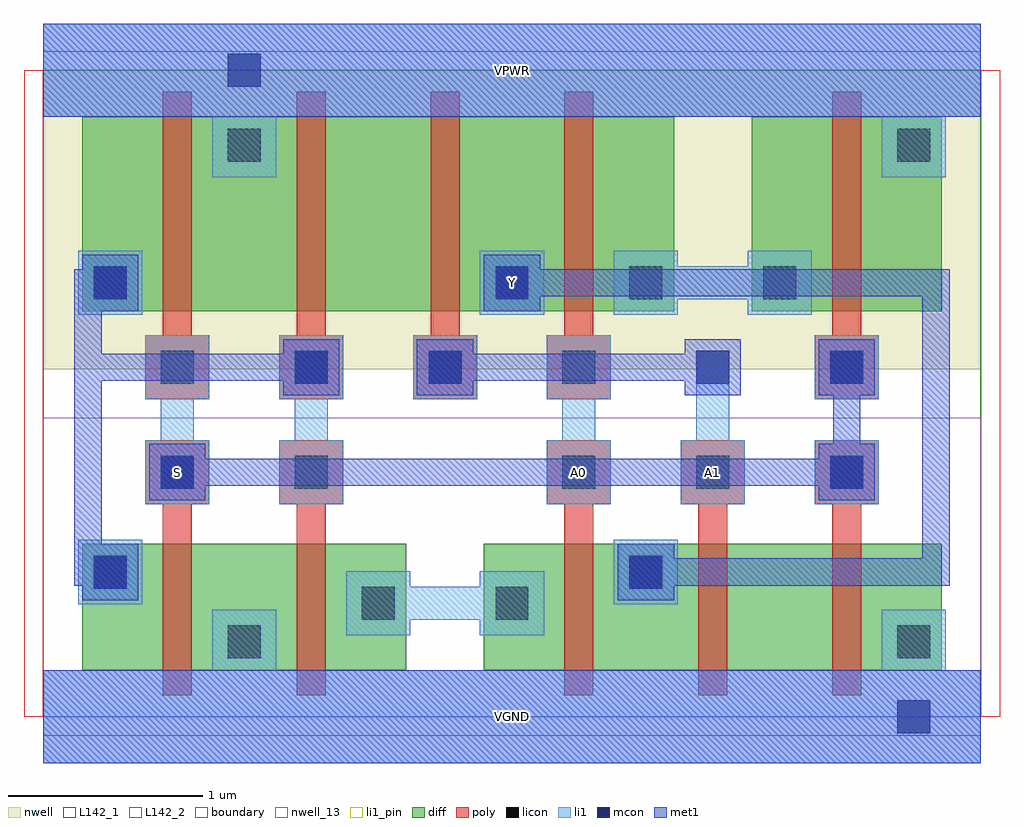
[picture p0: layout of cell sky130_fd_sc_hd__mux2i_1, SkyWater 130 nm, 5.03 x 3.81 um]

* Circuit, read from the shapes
.subckt sky130_fd_sc_hd__mux2i_1 A0 A1 S VGND VPWR Y
XM1 VGND S n1 VSUBS sky130_fd_pr__nfet_01v8 w=0.65 l=0.15
XM2 n2 n1 VGND VSUBS sky130_fd_pr__nfet_01v8 w=0.65 l=0.15
XM3 Y A0 n2 VSUBS sky130_fd_pr__nfet_01v8 w=0.65 l=0.15
XM4 n3 A1 Y VSUBS sky130_fd_pr__nfet_01v8 w=0.65 l=0.15
XM5 VGND S n3 VSUBS sky130_fd_pr__nfet_01v8 w=0.65 l=0.15
XM6 VPWR S n1 n4 sky130_fd_pr__pfet_01v8 w=1 l=0.15
XM7 n5 n1 VPWR n4 sky130_fd_pr__pfet_01v8 w=1 l=0.15
XM8 Y A1 n5 n4 sky130_fd_pr__pfet_01v8 w=1 l=0.15
XM9 n6 A0 Y n4 sky130_fd_pr__pfet_01v8 w=1 l=0.15
XM10 VPWR S n6 n4 sky130_fd_pr__pfet_01v8 w=1 l=0.15
.ends

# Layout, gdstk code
import gdstk
lib = gdstk.Library(unit=1e-6, precision=1e-09)
def R(c, l, rs):  # rectangles x0, y0, x1, y1
    for r in rs: c.add(gdstk.rectangle(r[:2], r[2:], *l))
def A(c, l, x, y, w, h, nx, ny, dx, dy):  # array of equal rectangles
    R(c, l, [(x+i*dx, y+j*dy, x+i*dx+w, y+j*dy+h) for i in range(nx) for j in range(ny)])
def P(c, l, *ps):  # polygons
    for p in ps: c.add(gdstk.Polygon(p, *l))
nwell_13 = (64, 13)
nwell = (64, 20)
diff = (65, 20)
poly = (66, 20)
licon = (66, 44)
li1_pin = (67, 16)
li1 = (67, 20)
mcon = (67, 44)
met1 = (68, 20)
L142_1 = (142, 1)
L142_2 = (142, 2)
boundary = (235, 4)

sky130_fd_sc_hd__mux2i_1 = lib.new_cell('sky130_fd_sc_hd__mux2i_1')
R(sky130_fd_sc_hd__mux2i_1, nwell_13, [(0,0,4.83,1.54)])
R(sky130_fd_sc_hd__mux2i_1, nwell, [(0,1.79,4.83,3.33)])
A(sky130_fd_sc_hd__mux2i_1, diff, 0.615, 2.09, 0.69, 1, 3, 1, 0.69, 0)
R(sky130_fd_sc_hd__mux2i_1, diff, [(0.2,0.24,1.87,0.89), (0.2,0.24,0.615,0.89), (0.615,0.24,1.305,0.89), (1.305,0.24,1.87,0.89), (2.27,0.24,4.63,0.89), (2.27,0.24,2.685,0.89), (2.685,0.24,3.375,0.89), (3.375,0.24,4.065,0.89), (4.065,0.24,4.63,0.89), (0.2,2.09,3.25,3.09), (0.2,2.09,0.615,3.09), (2.685,2.09,3.25,3.09), (3.65,2.09,4.63,3.09), (3.65,2.09,4.065,3.09), (4.065,2.09,4.63,3.09)])
P(sky130_fd_sc_hd__mux2i_1, poly, [(0.615,0.11),(0.615,1.095),(0.525,1.095),(0.525,1.425),(0.855,1.425),(0.855,1.095),(0.765,1.095),(0.765,0.11)],
  [(4.065,0.11),(4.065,1.095),(3.975,1.095),(3.975,1.425),(4.305,1.425),(4.305,1.095),(4.215,1.095),(4.215,0.11)],
  [(0.525,1.635),(0.525,1.965),(0.615,1.965),(0.615,3.22),(0.765,3.22),(0.765,1.965),(0.855,1.965),(0.855,1.635)],
  [(3.975,1.635),(3.975,1.965),(4.065,1.965),(4.065,3.22),(4.215,3.22),(4.215,1.965),(4.305,1.965),(4.305,1.635)],
  [(3.375,0.11),(3.375,1.095),(3.285,1.095),(3.285,1.425),(3.615,1.425),(3.615,1.095),(3.525,1.095),(3.525,0.11)],
  [(1.905,1.635),(1.905,1.965),(1.995,1.965),(1.995,3.22),(2.145,3.22),(2.145,1.965),(2.235,1.965),(2.235,1.635)],
  [(2.685,0.11),(2.685,1.095),(2.595,1.095),(2.595,1.425),(2.925,1.425),(2.925,1.095),(2.835,1.095),(2.835,0.11)],
  [(2.595,1.635),(2.595,1.965),(2.685,1.965),(2.685,3.22),(2.835,3.22),(2.835,1.965),(2.925,1.965),(2.925,1.635)],
  [(1.305,0.11),(1.305,1.095),(1.215,1.095),(1.215,1.425),(1.545,1.425),(1.545,1.095),(1.455,1.095),(1.455,0.11)],
  [(1.215,1.635),(1.215,1.965),(1.305,1.965),(1.305,3.22),(1.455,3.22),(1.455,1.965),(1.545,1.965),(1.545,1.635)])
A(sky130_fd_sc_hd__mux2i_1, licon, 2.675, 1.175, 0.17, 0.17, 3, 1, 0.69, 0)
A(sky130_fd_sc_hd__mux2i_1, licon, 0.605, 1.715, 0.17, 0.17, 4, 1, 0.69, 0)
A(sky130_fd_sc_hd__mux2i_1, licon, 2.33, 2.15, 0.17, 0.17, 3, 1, 0.69, 0)
R(sky130_fd_sc_hd__mux2i_1, licon, [(0.95,0.3,1.12,0.47), (4.4,0.3,4.57,0.47), (1.64,0.5,1.81,0.67), (2.33,0.5,2.5,0.67), (0.26,0.66,0.43,0.83), (3.02,0.66,3.19,0.83), (0.605,1.175,0.775,1.345), (1.295,1.175,1.465,1.345), (4.055,1.715,4.225,1.885), (0.26,2.15,0.43,2.32), (0.95,2.86,1.12,3.03), (4.4,2.86,4.57,3.03)])
R(sky130_fd_sc_hd__mux2i_1, li1_pin, [(0,-0.24,4.83,0.24), (2.25,2.07,2.58,2.4), (0,3.09,4.83,3.57)])
P(sky130_fd_sc_hd__mux2i_1, li1_pin, [(0.525,1.095),(0.525,1.425),(0.605,1.425),(0.605,1.635),(0.525,1.635),(0.525,1.965),(0.855,1.965),(0.855,1.635),(0.775,1.635),(0.775,1.425),(0.855,1.425),(0.855,1.095)],
  [(2.595,1.095),(2.595,1.425),(2.675,1.425),(2.675,1.635),(2.595,1.635),(2.595,1.965),(2.925,1.965),(2.925,1.635),(2.845,1.635),(2.845,1.425),(2.925,1.425),(2.925,1.095)],
  [(3.285,1.095),(3.285,1.425),(3.365,1.425),(3.365,1.885),(3.535,1.885),(3.535,1.425),(3.615,1.425),(3.615,1.095)])
R(sky130_fd_sc_hd__mux2i_1, li1, [(0.18,0.58,0.51,0.91), (2.94,0.58,3.27,0.91), (3.975,1.095,4.305,1.425), (1.905,1.635,2.235,1.965), (3.975,1.635,4.305,1.965), (0.18,2.07,0.51,2.4), (2.25,2.07,2.58,2.4)])
P(sky130_fd_sc_hd__mux2i_1, li1, [(0.525,1.095),(0.525,1.425),(0.605,1.425),(0.605,1.635),(0.525,1.635),(0.525,1.965),(0.855,1.965),(0.855,1.635),(0.775,1.635),(0.775,1.425),(0.855,1.425),(0.855,1.095)],
  [(1.56,0.42),(1.56,0.75),(1.89,0.75),(1.89,0.67),(2.25,0.67),(2.25,0.75),(2.58,0.75),(2.58,0.42),(2.25,0.42),(2.25,0.5),(1.89,0.5),(1.89,0.42)],
  [(0.87,2.78),(0.87,3.09),(0,3.09),(0,3.57),(4.83,3.57),(4.83,3.09),(4.65,3.09),(4.65,2.78),(4.32,2.78),(4.32,3.09),(1.2,3.09),(1.2,2.78)],
  [(2.94,2.07),(2.94,2.4),(3.27,2.4),(3.27,2.32),(3.63,2.32),(3.63,2.4),(3.96,2.4),(3.96,2.07),(3.63,2.07),(3.63,2.15),(3.27,2.15),(3.27,2.07)],
  [(3.285,1.095),(3.285,1.425),(3.365,1.425),(3.365,1.885),(3.535,1.885),(3.535,1.425),(3.615,1.425),(3.615,1.095)],
  [(0,-0.24),(0,0.24),(0.87,0.24),(0.87,0.55),(1.2,0.55),(1.2,0.24),(4.32,0.24),(4.32,0.55),(4.65,0.55),(4.65,0.24),(4.83,0.24),(4.83,-0.24)],
  [(2.595,1.095),(2.595,1.425),(2.675,1.425),(2.675,1.635),(2.595,1.635),(2.595,1.965),(2.925,1.965),(2.925,1.635),(2.845,1.635),(2.845,1.425),(2.925,1.425),(2.925,1.095)],
  [(1.215,1.095),(1.215,1.425),(1.295,1.425),(1.295,1.635),(1.215,1.635),(1.215,1.965),(1.545,1.965),(1.545,1.635),(1.465,1.635),(1.465,1.425),(1.545,1.425),(1.545,1.095)])
R(sky130_fd_sc_hd__mux2i_1, mcon, [(4.4,-0.085,4.57,0.085), (0.26,0.66,0.43,0.83), (3.02,0.66,3.19,0.83), (0.605,1.175,0.775,1.345), (4.055,1.175,4.225,1.345), (1.295,1.715,1.465,1.885), (1.985,1.715,2.155,1.885), (3.365,1.715,3.535,1.885), (4.055,1.715,4.225,1.885), (0.26,2.15,0.43,2.32), (2.33,2.15,2.5,2.32), (0.95,3.245,1.12,3.415)])
R(sky130_fd_sc_hd__mux2i_1, met1, [(0,-0.24,4.83,0.24), (0,3.09,4.83,3.57)])
P(sky130_fd_sc_hd__mux2i_1, met1, [(0.545,1.115),(0.545,1.405),(0.835,1.405),(0.835,1.33),(3.995,1.33),(3.995,1.405),(4.07,1.405),(4.07,1.655),(3.995,1.655),(3.995,1.945),(4.285,1.945),(4.285,1.655),(4.21,1.655),(4.21,1.405),(4.285,1.405),(4.285,1.115),(3.995,1.115),(3.995,1.19),(0.835,1.19),(0.835,1.115)],
  [(2.96,0.6),(2.96,0.89),(3.25,0.89),(3.25,0.815),(4.53,0.815),(4.53,2.165),(2.56,2.165),(2.56,2.09),(2.27,2.09),(2.27,2.38),(2.56,2.38),(2.56,2.305),(4.67,2.305),(4.67,0.675),(3.25,0.675),(3.25,0.6)],
  [(1.925,1.655),(1.925,1.945),(2.215,1.945),(2.215,1.87),(3.305,1.87),(3.305,1.945),(3.595,1.945),(3.595,1.655),(3.305,1.655),(3.305,1.73),(2.215,1.73),(2.215,1.655)],
  [(0.2,0.6),(0.2,0.675),(0.16,0.675),(0.16,2.305),(0.2,2.305),(0.2,2.38),(0.49,2.38),(0.49,2.09),(0.3,2.09),(0.3,1.87),(1.235,1.87),(1.235,1.945),(1.525,1.945),(1.525,1.655),(1.235,1.655),(1.235,1.73),(0.3,1.73),(0.3,0.89),(0.49,0.89),(0.49,0.6)])
R(sky130_fd_sc_hd__mux2i_1, L142_1, [(0,-0.1,4.83,0), (0,3.33,4.83,3.43)])
R(sky130_fd_sc_hd__mux2i_1, L142_2, [(-0.1,0,0,3.33), (4.83,0,4.93,3.33)])
R(sky130_fd_sc_hd__mux2i_1, boundary, [(0,0,4.83,3.33)])
sky130_fd_sc_hd__mux2i_1.add(gdstk.Label('Y', (2.415,2.235), layer=67, texttype=5))
sky130_fd_sc_hd__mux2i_1.add(gdstk.Label('S', (0.69,1.26), layer=67, texttype=5))
sky130_fd_sc_hd__mux2i_1.add(gdstk.Label('A0', (2.76,1.26), layer=67, texttype=5))
sky130_fd_sc_hd__mux2i_1.add(gdstk.Label('A1', (3.45,1.26), layer=67, texttype=5))
sky130_fd_sc_hd__mux2i_1.add(gdstk.Label('VGND', (2.415,0), layer=67, texttype=5))
sky130_fd_sc_hd__mux2i_1.add(gdstk.Label('VPWR', (2.415,3.33), layer=67, texttype=5))
sky130_fd_sc_hd__mux2i_1.add(gdstk.Label('VGND', (2.415,0), layer=68, texttype=5))
sky130_fd_sc_hd__mux2i_1.add(gdstk.Label('VPWR', (2.415,3.33), layer=68, texttype=5))

lib.write_gds('sky130_fd_sc_hd__mux2i_1.gds')
